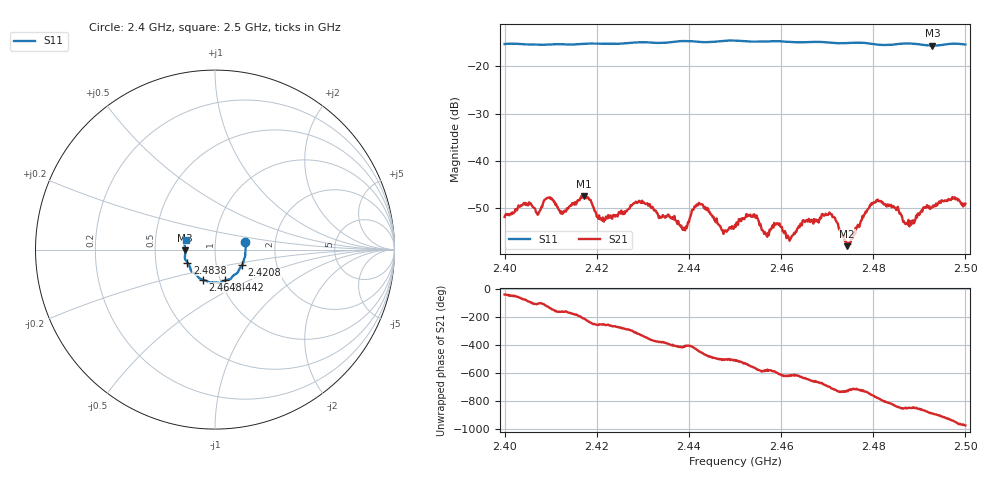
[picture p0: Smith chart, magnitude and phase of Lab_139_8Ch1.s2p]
# Hz S RI R 50
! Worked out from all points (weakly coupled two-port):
!   601 points, 2.4 GHz to 2.5 GHz, reference 50 ohm
!   highest |S21| = -47.38 dB at 2.4172 GHz (marker M1); lowest = -58.0 dB at 2.4743 GHz (marker M2)
!   lowest |S11| = -15.6 dB at 2.4928 GHz (marker M3), VSWR 1.40, Z = 35.8 - j0.348 ohm
!   |S11| at or under -10 dB: start of sweep to end of sweep
!   S12 and S22 are empty: the file has one direction only
!   S11 on the Smith chart (normalised r, x): 2.4 GHz: 1.40, +0.12; 2.4208 GHz: 1.33, -0.24; 2.4442 GHz: 1.05, -0.37; 2.4648 GHz: 0.83, -0.29; 2.4838 GHz: 0.73, -0.11; 2.5 GHz: 0.72, +0.08
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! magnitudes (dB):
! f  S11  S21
! 2.4 GHz  -15.3  -51.9
! 2.4167 GHz  -15.2  -47.4
! 2.4172 GHz  -15.2  -47.4
! 2.4208 GHz  -15.2  -52.1
! 2.4293 GHz  -14.9  -48.7
! 2.4333 GHz  -15.0  -51.6
! 2.439 GHz  -14.6  -54.5
! 2.4417 GHz  -14.8  -49.2
! 2.4442 GHz  -14.9  -50.1
! 2.45 GHz  -14.5  -53.5
! 2.4542 GHz  -14.8  -51.3
! 2.4617 GHz  -14.8  -56.3
! 2.4648 GHz  -14.9  -52.5
! 2.4667 GHz  -14.8  -52.4
! 2.471 GHz  -15.0  -51.3
! 2.4743 GHz  -15.1  -58.0
! 2.4797 GHz  -15.2  -48.9
! 2.4833 GHz  -15.5  -49.6
! 2.4838 GHz  -15.4  -49.3
! 2.4873 GHz  -15.1  -53.1
! 2.4928 GHz  -15.6  -49.7
! 2.5 GHz  -15.4  -49.1
